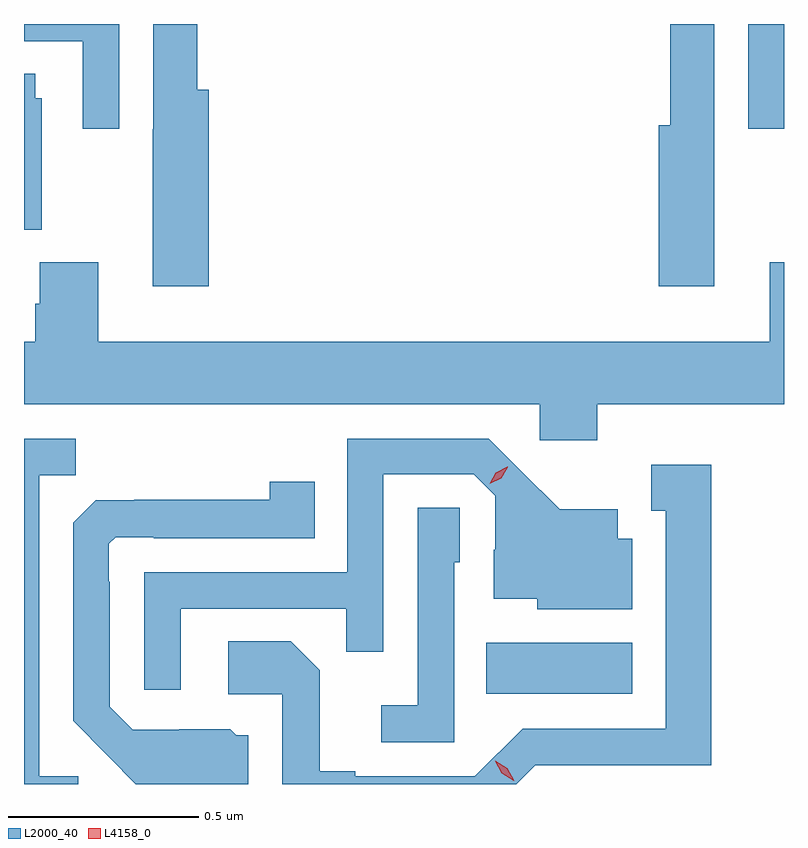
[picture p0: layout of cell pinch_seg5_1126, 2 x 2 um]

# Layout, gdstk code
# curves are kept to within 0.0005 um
import gdstk
lib = gdstk.Library(unit=1e-6, precision=1e-09)
def R(c, l, rs):  # rectangles x0, y0, x1, y1
    for r in rs: c.add(gdstk.rectangle(r[:2], r[2:], *l))
def P(c, l, *ps):  # polygons
    for p in ps: c.add(gdstk.Polygon(p, *l))
L2000_40 = (2000, 40)
L4158_0 = (4158, 0)

pinch_seg5_1126 = lib.new_cell('pinch_seg5_1126')
R(pinch_seg5_1126, L2000_40, [(802.48,854.666,802.864,854.8), (803.169,856.152,803.263,856.428)])
P(pinch_seg5_1126, L2000_40, [(803.08,856.058),(803.079,856.058),(803.079,856.428),(802.963,856.428),(802.963,856.162),(802.934,856.162),(802.934,855.738),(803.08,855.738)],
  [(801.749,856.255),(801.719,856.255),(801.719,856.428),(801.603,856.428),(801.603,856.151),(801.602,856.151),(801.602,855.738),(801.749,855.738)],
  [(801.513,856.428),(801.263,856.428),(801.263,856.382),(801.417,856.382),(801.417,856.152),(801.513,856.152)],
  [(801.31,856.233),(801.292,856.233),(801.292,856.297),(801.263,856.297),(801.263,855.886),(801.31,855.886)],
  [(802.772,855.428),(803.263,855.428),(803.263,855.801),(803.225,855.801),(803.225,855.592),(801.458,855.592),(801.458,855.801),(801.305,855.801),(801.305,855.692),(801.293,855.692),(801.293,855.592),(801.263,855.592),(801.263,855.428),(802.62,855.428),(802.62,855.333),(802.772,855.333)],
  [(801.406,854.448),(801.303,854.448),(801.303,855.241),(801.399,855.241),(801.399,855.336),(801.263,855.336),(801.263,854.428),(801.406,854.428)],
  [(801.675,854.889),(802.111,854.889),(802.111,854.776),(802.209,854.776),(802.209,855.243),(802.446,855.243),(802.503,855.186),(802.503,855.044),(802.499,855.044),(802.499,854.915),(802.614,854.915),(802.614,854.888),(802.864,854.888),(802.864,855.073),(802.825,855.073),(802.825,855.151),(802.673,855.151),(802.486,855.336),(802.113,855.336),(802.113,854.985),(801.579,854.985),(801.579,854.676),(801.675,854.676)],
  [(802.608,854.478),(802.83,854.478),(802.83,854.477),(803.071,854.477),(803.071,855.268),(802.913,855.268),(802.913,855.147),(802.952,855.147),(802.952,854.574),(802.575,854.574),(802.449,854.448),(802.135,854.448),(802.135,854.461),(802.041,854.461),(802.041,854.728),(801.965,854.804),(801.801,854.804),(801.801,854.664),(801.942,854.664),(801.942,854.428),(802.558,854.428)],
  [(801.853,854.556),(801.822,854.556),(801.806,854.572),(801.672,854.572),(801.672,854.571),(801.549,854.571),(801.489,854.631),(801.489,854.96),(801.486,854.96),(801.486,855.06),(801.504,855.078),(801.604,855.078),(801.604,855.075),(802.028,855.075),(802.028,855.223),(801.91,855.223),(801.91,855.176),(801.553,855.176),(801.553,855.175),(801.452,855.175),(801.393,855.116),(801.393,854.594),(801.557,854.428),(801.853,854.428)],
  [(802.395,855.012),(802.41,855.012),(802.41,855.155),(802.299,855.155),(802.299,854.635),(802.203,854.635),(802.203,854.538),(802.395,854.538)])
P(pinch_seg5_1126, L4158_0, [(802.552,854.437),(802.52,854.456),(802.503,854.488),(802.503,854.489),(802.503,854.489),(802.535,854.47),(802.553,854.437),(802.553,854.437)],
  [(802.488,855.218),(802.488,855.218),(802.505,855.247),(802.535,855.263),(802.536,855.263),(802.536,855.262),(802.519,855.233),(802.488,855.218)])

lib.write_gds('pinch_seg5_1126.gds')
